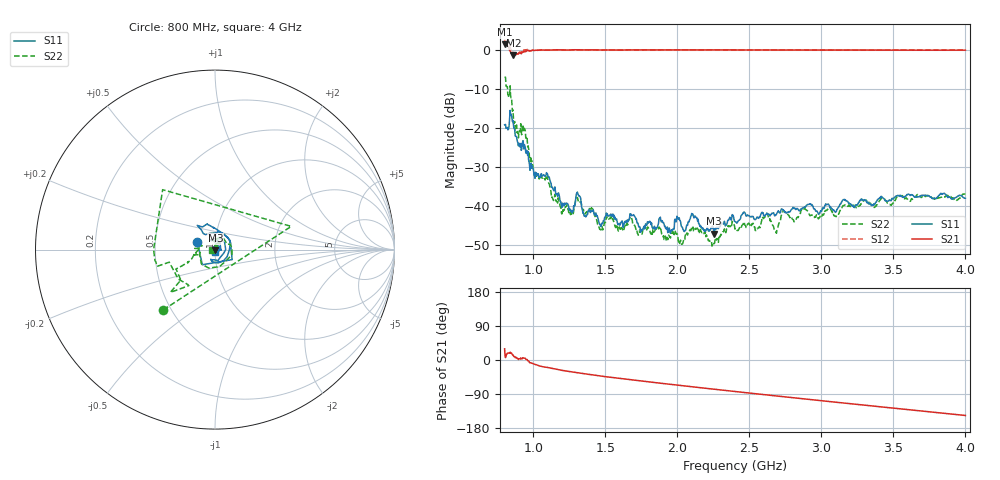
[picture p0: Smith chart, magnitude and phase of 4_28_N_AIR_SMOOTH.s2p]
!Keysight Technologies N9950B: A.12.38
!Date: Friday, 28 April 2023 16:33:14
!Timezone: (UTC-06:00) Central Time (US & Canada)
!Model: N9950B
!Serial: MY61131330
!GPS Latitude:
!GPS Longitude:
!GPS TimeStamp: 0001-01-01 00:00:00Z
!GPS Seconds Since Last Read: 0
!CHECKSUM:0400610263
!Correction: S11(ON U)S21(ON U)S12(ON U)S22(ON U)
!S2P File: Measurements:S11,S21,S12,S22:
# Hz S DB R 50
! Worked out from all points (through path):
!   1001 points, 800 MHz to 4 GHz, reference 50 ohm
!   highest |S21| = 1.36 dB at 803.2 MHz (marker M1); lowest = -1.5 dB at 860.8 MHz (marker M2)
!   group delay of S21, straight-line fit = 125 ps
!   lowest |S11| = -47.0 dB at 2.256 GHz (marker M3), VSWR 1.01, Z = 50.3 - j0.368 ohm
!   |S11| at or under -10 dB: start of sweep to end of sweep
!   |S22| runs from -50.2 to -7.1 dB; largest |S21 - S12| = 1.1
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8e8  -19.23 155.7  1.35 29.4  2.31 -21.6  -7.09 -130.6
8.032e8  -19.18 -129.8  1.36 10.2  2.31 -6.8  -7.05 16.9
8.608e8  -18.96 84.8  -1.50 11.5  -0.99 -9.5  -17.18 -158.6
8.96e8  -24.60 -114.1  -1.16 1.3  -1.08 -2.6  -22.56 163.4
9.408e8  -24.74 113.7  -0.52 4.9  -0.13 -7.4  -20.40 2.0
1.0144e9  -31.32 24.2  -0.14 -11.8  -0.15 -11.8  -31.49 78.8
1.1008e9  -32.19 33.2  -0.14 -19.9  -0.14 -20.0  -33.44 87.9
1.2e9  -40.09 80.5  -0.11 -27.5  -0.10 -27.5  -41.69 87.5
1.2672e9  -41.43 176.4  -0.08 -31.4  -0.08 -31.4  -41.91 100.0
1.312e9  -37.07 -155.7  -0.06 -33.9  -0.06 -33.9  -38.77 26.3
1.3344e9  -40.14 -139.5  -0.09 -35.1  -0.09 -35.1  -39.61 175.0
1.4688e9  -45.20 178.3  -0.13 -42.5  -0.13 -42.5  -46.06 83.2
1.5232e9  -42.49 65.2  -0.11 -45.0  -0.11 -45.0  -43.27 149.2
1.7376e9  -45.18 -78.8  -0.11 -54.8  -0.12 -54.9  -46.09 106.5
1.8688e9  -44.36 -91.7  -0.10 -60.7  -0.09 -60.7  -45.76 88.7
2.0224e9  -43.99 -74.5  -0.09 -67.3  -0.09 -67.3  -48.67 84.1
2.1088e9  -42.23 -57.9  -0.09 -70.9  -0.09 -70.9  -45.32 57.6
2.256e9  -46.98 -54.8  -0.09 -77.1  -0.09 -77.2  -49.52 72.3
2.4e9  -43.88 -51.1  -0.10 -83.1  -0.10 -83.1  -45.81 56.4
2.9344e9  -39.57 -54.6  -0.12 -104.8  -0.12 -104.8  -42.24 -17.1
3.4688e9  -38.52 -66.1  -0.15 -125.9  -0.14 -125.9  -39.43 -79.5
4e9  -37.96 -86.7  -0.15 -146.4  -0.15 -146.6  -36.89 -179.4
